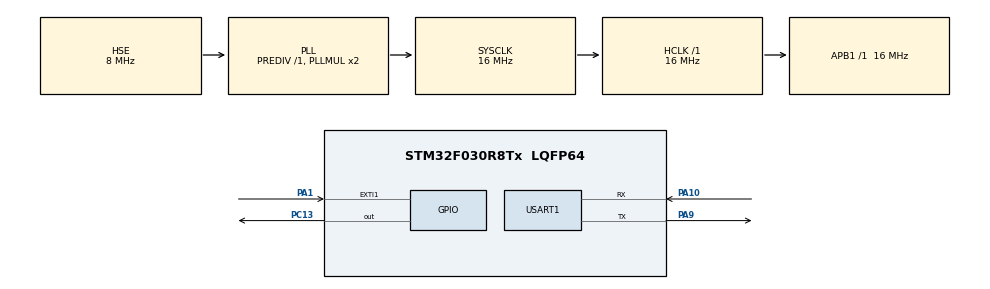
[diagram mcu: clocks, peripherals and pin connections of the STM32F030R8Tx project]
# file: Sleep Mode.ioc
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Mcu.Family=STM32F0
Mcu.Name=STM32F030R8Tx
Mcu.Package=LQFP64
NVIC.EXTI0_1_IRQn=true\:0\:0\:false\:false\:true\:true\:true
PA1.Signal=GPXTI1
PA10.Mode=Asynchronous
PA10.Signal=USART1_RX
PA13.Mode=Serial_Wire
PA13.Signal=SYS_SWDIO
PA14.Mode=Serial_Wire
PA14.Signal=SYS_SWCLK
PA9.Mode=Asynchronous
PA9.Signal=USART1_TX
PC13.Signal=GPIO_Output
PF0-OSC_IN.Mode=HSE-External-Oscillator
PF0-OSC_IN.Signal=RCC_OSC_IN
PF1-OSC_OUT.Mode=HSE-External-Oscillator
PF1-OSC_OUT.Signal=RCC_OSC_OUT
ProjectManager.HeapSize=0x200
ProjectManager.StackSize=0x400
ProjectManager.TargetToolchain=STM32CubeIDE
RCC.AHBFreq_Value=16000000
RCC.APB1Freq_Value=16000000
RCC.APB1TimFreq_Value=16000000
RCC.HCLKFreq_Value=16000000
RCC.PLLSourceVirtual=RCC_PLLSOURCE_HSE
RCC.SYSCLKFreq_VALUE=16000000
RCC.SYSCLKSource=RCC_SYSCLKSOURCE_PLLCLK
TIM16.Prescaler=800 -1
USART1.VirtualMode-Asynchronous=VM_ASYNC
VP_TIM16_VS_ClockSourceINT.Mode=Enable_Timer
board=custom

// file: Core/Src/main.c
/* USER CODE BEGIN Header */
/**
  ******************************************************************************
  * @file           : main.c
  * @brief          : Main program body
  ******************************************************************************
  * @attention
  *
  * <h2><center>&copy; Copyright (c) 2021 STMicroelectronics.
  * All rights reserved.</center></h2>
  *
  * This software component is licensed by ST under BSD 3-Clause license,
  * the "License"; You may not use this file except in compliance with the
  * License. You may obtain a copy of the License at:
  *                        opensource.org/licenses/BSD-3-Clause
  *
  ******************************************************************************
  */
/* USER CODE END Header */
#include "main.h"
#include <stdio.h>
#include <string.h>

TIM_HandleTypeDef htim16;

UART_HandleTypeDef huart1;

void SystemClock_Config(void);
static void MX_GPIO_Init(void);
static void MX_USART1_UART_Init(void);
static void MX_TIM16_Init(void);

/* USER CODE BEGIN 0 */
char *str = {0};
uint8_t Rx_data;

void HAL_UART_RxCpltCallback(UART_HandleTypeDef *huart){
	HAL_UART_Receive_IT(&huart1, &Rx_data, 1);
}

/* USER CODE END 0 */

int main(void)
{
  /* USER CODE BEGIN 1 */
	char uart_buf[50]; // uart buffer
	int uart_buf_len; // buffer length
	uint16_t timer_val; // store the timer value
	uint16_t compl_timers_val = 0; // Keep track of how many times timer_val reached 65536
	int wakeUpTrigger = 0; // will trigger the
  /* USER CODE END 1 */

  /* MCU Configuration--------------------------------------------------------*/

  /* Reset of all peripherals, Initializes the Flash interface and the Systick. */
  HAL_Init();

  /* Configure the system clock */
  SystemClock_Config();

  /* Initialize all configured peripherals */
  MX_GPIO_Init();
  MX_USART1_UART_Init();
  MX_TIM16_Init();
  /* USER CODE BEGIN 2 */
	uart_buf_len = sprintf(uart_buf, "Timer test \r\n");
	HAL_UART_Transmit(&huart1, (uint8_t *)uart_buf, uart_buf_len, 100);

	 // Start timer
	  HAL_TIM_Base_Start(&htim16);

  /* USER CODE END 2 */

  /* Infinite loop */
  /* USER CODE BEGIN WHILE */
  while (1)
  {

	  timer_val = __HAL_TIM_GET_COUNTER(&htim16);

	  if(timer_val > 65500){
		  compl_timers_val += 1;
		  if(compl_timers_val >= 75){
			  compl_timers_val = 0;
			  wakeUpTrigger = 1;
		  }
	  }

    /* USER CODE END WHILE */

    /* USER CODE BEGIN 3 */
	  str = "Going into Sleep MODE in 5 Seconds \r\n";
	  HAL_UART_Transmit(&huart1, (uint8_t *) str, strlen(str), HAL_MAX_DELAY);

	  HAL_GPIO_WritePin(GPIOC, GPIO_PIN_13, 0);
	  HAL_Delay(5000);

	  /* Suspend Tick increment to prevent wakeup by systick interrupt.
	   * Otherwise Systick interrupt will wake up the device within 1ms, Hall time base
	   */

	  HAL_SuspendTick();

	  HAL_GPIO_WritePin(GPIOC, GPIO_PIN_13, 0); // Just to indicate sleep mode is activated

	  // Enter the sleep MODE NOW...
	  HAL_PWR_EnterSLEEPMode(PWR_MAINREGULATOR_ON, wakeUpTrigger); // Interrupt for wake up

	  HAL_ResumeTick();

	  str = "Woke UP from Sleep MODE \r\n";
	  HAL_UART_Transmit(&huart1, (uint8_t *) str, strlen(str), HAL_MAX_DELAY);

	  for(int i = 0; i < 20; i++){
		  HAL_GPIO_TogglePin(GPIOC, GPIO_PIN_13);
		  HAL_Delay(500);
	  }

	  if(wakeUpTrigger == 1){
		  wakeUpTrigger = 0;
	  }
  }
  /* USER CODE END 3 */
}

void SystemClock_Config(void)
{
  RCC_OscInitTypeDef RCC_OscInitStruct = {0};
  RCC_ClkInitTypeDef RCC_ClkInitStruct = {0};
  RCC_PeriphCLKInitTypeDef PeriphClkInit = {0};

  /** Initializes the RCC Oscillators according to the specified parameters
  * in the RCC_OscInitTypeDef structure.
  */
  RCC_OscInitStruct.OscillatorType = RCC_OSCILLATORTYPE_HSE;
  RCC_OscInitStruct.HSEState = RCC_HSE_ON;
  RCC_OscInitStruct.PLL.PLLState = RCC_PLL_ON;
  RCC_OscInitStruct.PLL.PLLSource = RCC_PLLSOURCE_HSE;
  RCC_OscInitStruct.PLL.PLLMUL = RCC_PLL_MUL2;
  RCC_OscInitStruct.PLL.PREDIV = RCC_PREDIV_DIV1;
  if (HAL_RCC_OscConfig(&RCC_OscInitStruct) != HAL_OK)
  {
    Error_Handler();
  }
  /** Initializes the CPU, AHB and APB buses clocks
  */
  RCC_ClkInitStruct.ClockType = RCC_CLOCKTYPE_HCLK|RCC_CLOCKTYPE_SYSCLK
                              |RCC_CLOCKTYPE_PCLK1;
  RCC_ClkInitStruct.SYSCLKSource = RCC_SYSCLKSOURCE_PLLCLK;
  RCC_ClkInitStruct.AHBCLKDivider = RCC_SYSCLK_DIV1;
  RCC_ClkInitStruct.APB1CLKDivider = RCC_HCLK_DIV1;

  if (HAL_RCC_ClockConfig(&RCC_ClkInitStruct, FLASH_LATENCY_0) != HAL_OK)
  {
    Error_Handler();
  }
  PeriphClkInit.PeriphClockSelection = RCC_PERIPHCLK_USART1;
  PeriphClkInit.Usart1ClockSelection = RCC_USART1CLKSOURCE_PCLK1;
  if (HAL_RCCEx_PeriphCLKConfig(&PeriphClkInit) != HAL_OK)
  {
    Error_Handler();
  }
}

static void MX_TIM16_Init(void)
{

  htim16.Instance = TIM16;
  htim16.Init.Prescaler = 800 -1;
  htim16.Init.CounterMode = TIM_COUNTERMODE_UP;
  htim16.Init.Period = 65535;
  htim16.Init.ClockDivision = TIM_CLOCKDIVISION_DIV1;
  htim16.Init.RepetitionCounter = 0;
  htim16.Init.AutoReloadPreload = TIM_AUTORELOAD_PRELOAD_DISABLE;
  if (HAL_TIM_Base_Init(&htim16) != HAL_OK)
  {
    Error_Handler();
  }

}

static void MX_USART1_UART_Init(void)
{

  huart1.Instance = USART1;
  huart1.Init.BaudRate = 38400;
  huart1.Init.WordLength = UART_WORDLENGTH_8B;
  huart1.Init.StopBits = UART_STOPBITS_1;
  huart1.Init.Parity = UART_PARITY_NONE;
  huart1.Init.Mode = UART_MODE_TX_RX;
  huart1.Init.HwFlowCtl = UART_HWCONTROL_NONE;
  huart1.Init.OverSampling = UART_OVERSAMPLING_16;
  huart1.Init.OneBitSampling = UART_ONE_BIT_SAMPLE_DISABLE;
  huart1.AdvancedInit.AdvFeatureInit = UART_ADVFEATURE_NO_INIT;
  if (HAL_UART_Init(&huart1) != HAL_OK)
  {
    Error_Handler();
  }

}

static void MX_GPIO_Init(void)
{
  GPIO_InitTypeDef GPIO_InitStruct = {0};

  /* GPIO Ports Clock Enable */
  __HAL_RCC_GPIOC_CLK_ENABLE();
  __HAL_RCC_GPIOF_CLK_ENABLE();
  __HAL_RCC_GPIOA_CLK_ENABLE();

  /*Configure GPIO pin Output Level */
  HAL_GPIO_WritePin(GPIOC, GPIO_PIN_13, GPIO_PIN_RESET);

  /*Configure GPIO pin : PC13 */
  GPIO_InitStruct.Pin = GPIO_PIN_13;
  GPIO_InitStruct.Mode = GPIO_MODE_OUTPUT_PP;
  GPIO_InitStruct.Pull = GPIO_NOPULL;
  GPIO_InitStruct.Speed = GPIO_SPEED_FREQ_LOW;
  HAL_GPIO_Init(GPIOC, &GPIO_InitStruct);

  /*Configure GPIO pin : PA1 */
  GPIO_InitStruct.Pin = GPIO_PIN_1;
  GPIO_InitStruct.Mode = GPIO_MODE_IT_RISING;
  GPIO_InitStruct.Pull = GPIO_NOPULL;
  HAL_GPIO_Init(GPIOA, &GPIO_InitStruct);

  /* EXTI interrupt init*/
  HAL_NVIC_SetPriority(EXTI0_1_IRQn, 0, 0);
  HAL_NVIC_EnableIRQ(EXTI0_1_IRQn);

}

void Error_Handler(void)
{
  __disable_irq();
  while (1)
  {
  }
}

/************************ (C) COPYRIGHT STMicroelectronics *****END OF FILE****/
